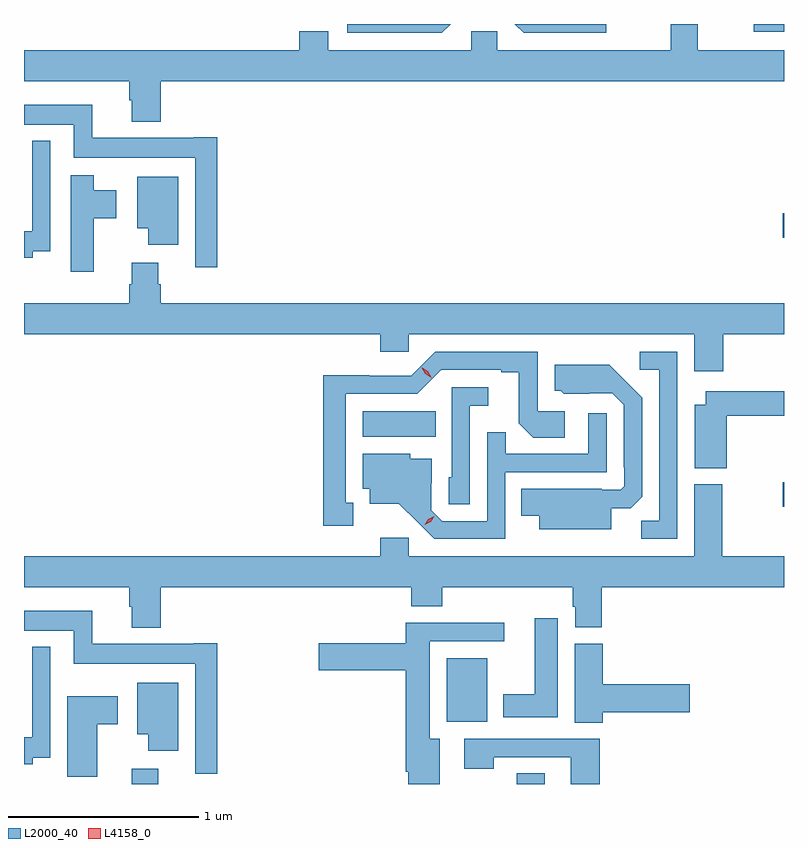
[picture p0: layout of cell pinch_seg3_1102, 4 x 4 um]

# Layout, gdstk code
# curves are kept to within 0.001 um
import gdstk
lib = gdstk.Library(unit=1e-6, precision=1e-09)
def R(c, l, rs):  # rectangles x0, y0, x1, y1
    for r in rs: c.add(gdstk.rectangle(r[:2], r[2:], *l))
def P(c, l, *ps):  # polygons
    for p in ps: c.add(gdstk.Polygon(p, *l))
L2000_40 = (2000, 40)
L4158_0 = (4158, 0)

pinch_seg3_1102 = lib.new_cell('pinch_seg3_1102')
R(pinch_seg3_1102, L2000_40, [(317.309,697.217,317.449,697.297), (319.336,697.217,319.483,697.274), (318.968,697.544,319.18,697.879), (320.736,698.675,320.742,698.805), (318.524,699.044,318.908,699.178), (320.736,700.091,320.742,700.221), (320.583,701.175,320.742,701.217)])
P(pinch_seg3_1102, L2000_40, [(318.987,701.217),(318.444,701.217),(318.444,701.171),(318.941,701.171)],
  [(317.462,700.916),(320.742,700.916),(320.742,701.08),(320.287,701.08),(320.287,701.217),(320.147,701.217),(320.147,701.08),(319.233,701.08),(319.233,701.178),(319.095,701.178),(319.095,701.08),(318.343,701.08),(318.343,701.179),(318.191,701.179),(318.191,701.08),(316.742,701.08),(316.742,700.916),(317.297,700.916),(317.297,700.815),(317.309,700.815),(317.309,700.703),(317.462,700.703)],
  [(319.806,701.217),(319.326,701.217),(319.371,701.172),(319.806,701.172)],
  [(317.759,700.621),(317.636,700.621),(317.636,700.618),(317.102,700.618),(317.102,700.792),(316.742,700.792),(316.742,700.688),(317.004,700.688),(317.004,700.514),(317.643,700.514),(317.643,699.936),(317.759,699.936)],
  [(316.789,700.02),(316.881,700.02),(316.881,700.603),(316.785,700.603),(316.785,700.126),(316.742,700.126),(316.742,699.986),(316.789,699.986)],
  [(317.11,700.195),(317.227,700.195),(317.227,700.342),(317.11,700.342),(317.11,700.42),(316.988,700.42),(316.988,699.912),(317.11,699.912)],
  [(317.554,700.414),(317.339,700.414),(317.339,700.142),(317.396,700.142),(317.396,700.056),(317.554,700.056)],
  [(320.423,699.584),(320.742,699.584),(320.742,699.748),(317.462,699.748),(317.462,699.846),(317.449,699.846),(317.449,699.961),(317.309,699.961),(317.309,699.846),(317.297,699.846),(317.297,699.748),(316.742,699.748),(316.742,699.584),(318.617,699.584),(318.617,699.491),(318.768,699.491),(318.768,699.584),(320.27,699.584),(320.27,699.39),(320.423,699.39)],
  [(320.181,699.492),(319.983,699.492),(319.983,699.396),(320.085,699.396),(320.085,698.603),(319.99,698.603),(319.99,698.508),(320.181,698.508)],
  [(318.475,698.697),(318.436,698.697),(318.436,699.27),(318.813,699.27),(318.939,699.396),(319.253,699.396),(319.253,699.384),(319.347,699.384),(319.347,699.116),(319.423,699.04),(319.588,699.04),(319.588,699.18),(319.446,699.18),(319.446,699.492),(318.906,699.492),(318.78,699.366),(318.558,699.366),(318.558,699.368),(318.318,699.368),(318.318,698.577),(318.475,698.577)],
  [(319.834,698.669),(319.936,698.669),(319.995,698.728),(319.995,699.25),(319.823,699.424),(319.535,699.424),(319.535,699.288),(319.566,699.288),(319.582,699.272),(319.839,699.273),(319.899,699.213),(319.899,698.884),(319.902,698.884),(319.902,698.784),(319.884,698.766),(319.784,698.766),(319.784,698.77),(319.36,698.77),(319.36,698.63),(319.454,698.63),(319.454,698.558),(319.834,698.558)],
  [(319.089,699.209),(319.186,699.209),(319.186,699.306),(318.993,699.306),(318.993,698.832),(318.978,698.832),(318.978,698.689),(319.089,698.689)],
  [(320.44,699.154),(320.742,699.154),(320.742,699.283),(320.33,699.283),(320.33,699.214),(320.273,699.214),(320.273,698.879),(320.44,698.879)],
  [(319.275,698.859),(319.809,698.859),(319.809,699.169),(319.713,699.169),(319.713,698.955),(319.277,698.955),(319.277,699.068),(319.179,699.068),(319.179,698.601),(318.942,698.601),(318.885,698.658),(318.885,698.8),(318.889,698.8),(318.889,698.929),(318.774,698.929),(318.774,698.956),(318.524,698.956),(318.524,698.772),(318.563,698.772),(318.563,698.693),(318.715,698.693),(318.902,698.508),(319.275,698.508)],
  [(317.462,698.252),(318.779,698.252),(318.779,698.153),(318.944,698.153),(318.944,698.252),(319.631,698.252),(319.631,698.151),(319.643,698.151),(319.643,698.041),(319.784,698.041),(319.784,698.252),(320.742,698.252),(320.742,698.416),(320.418,698.416),(320.418,698.794),(320.27,698.794),(320.27,698.416),(318.768,698.416),(318.768,698.512),(318.617,698.512),(318.617,698.416),(316.742,698.416),(316.742,698.252),(317.297,698.252),(317.297,698.151),(317.309,698.151),(317.309,698.039),(317.462,698.039)],
  [(317.759,697.957),(317.636,697.957),(317.636,697.954),(317.102,697.954),(317.102,698.128),(316.742,698.128),(316.742,698.024),(317.004,698.024),(317.004,697.85),(317.643,697.85),(317.643,697.272),(317.759,697.272)],
  [(319.552,698.089),(319.43,698.089),(319.43,697.69),(319.265,697.69),(319.265,697.568),(319.552,697.568)],
  [(318.931,697.456),(318.877,697.456),(318.877,697.968),(319.27,697.968),(319.27,698.066),(318.752,698.066),(318.752,697.959),(318.294,697.959),(318.294,697.817),(318.752,697.817),(318.752,697.282),(318.764,697.282),(318.764,697.217),(318.931,697.217)],
  [(319.787,697.595),(320.245,697.595),(320.245,697.742),(319.787,697.742),(319.787,697.956),(319.64,697.956),(319.64,697.54),(319.787,697.54)],
  [(316.789,697.356),(316.881,697.356),(316.881,697.939),(316.785,697.939),(316.785,697.462),(316.742,697.462),(316.742,697.322),(316.789,697.322)],
  [(317.554,697.75),(317.339,697.75),(317.339,697.478),(317.396,697.478),(317.396,697.392),(317.554,697.392)],
  [(317.128,697.531),(317.236,697.531),(317.236,697.678),(316.97,697.678),(316.97,697.256),(317.128,697.256)],
  [(319.772,697.455),(319.059,697.455),(319.059,697.296),(319.215,697.296),(319.215,697.359),(319.619,697.359),(319.619,697.217),(319.772,697.217)])
P(pinch_seg3_1102, L4158_0, [(318.852,698.581),(318.852,698.582),(318.87,698.611),(318.901,698.625),(318.901,698.625),(318.901,698.625),(318.883,698.596),(318.852,698.581)],
  [(318.886,699.356),(318.854,699.375),(318.836,699.407),(318.836,699.408),(318.837,699.408),(318.868,699.389),(318.886,699.357),(318.886,699.356)])

lib.write_gds('pinch_seg3_1102.gds')
